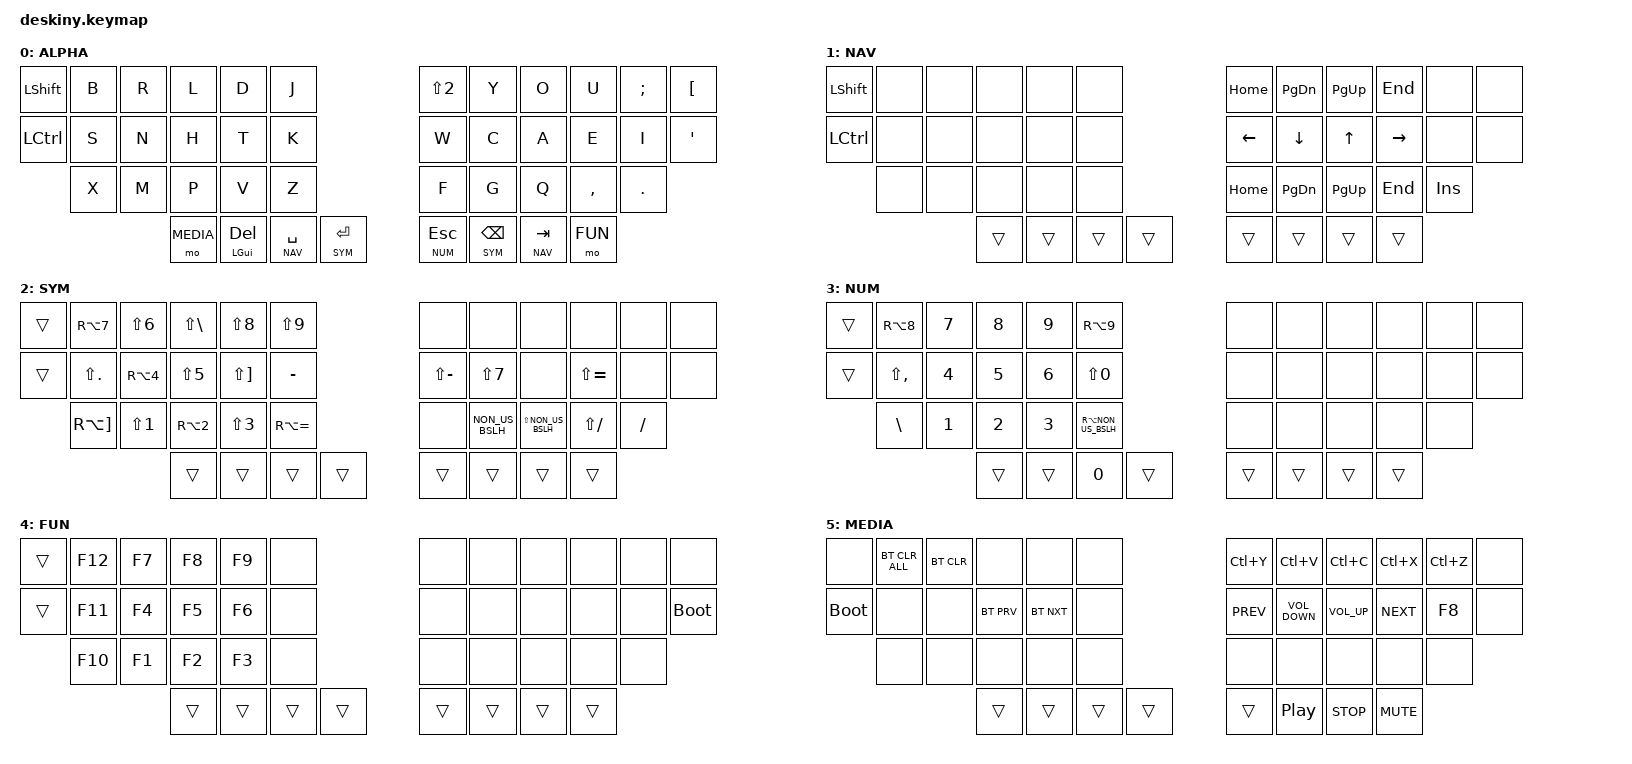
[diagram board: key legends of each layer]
#include <behaviors.dtsi>
#include <dt-bindings/zmk/bt.h>
#include <dt-bindings/zmk/keys.h>

/* DANISH LAYOUT ALIASES FOR LINUX OS */
#define DK_AA   &kp LBKT
#define DK_AE   &kp SEMI
#define DK_OO   &kp APOS
#define DK_MINS &kp SLASH
#define DK_PLUS &kp MINUS
#define DK_EQL  &kp LS(N0)
#define DK_SLSH &kp LS(N7)
#define DK_ASTR &kp LS(BSLH)
#define DK_SQT  &kp BSLH
#define DK_DQOT &kp LS(N2)
#define DK_AMPR &kp LS(N6)
#define DK_PERC &kp LS(N5)
#define DK_C_RT &kp LS(RBKT)
#define DK_SCLN &kp LS(COMMA)
#define DK_COLN &kp LS(DOT)
#define DK_LPAR &kp LS(N8)
#define DK_RPAR &kp LS(N9)
#define DK_EXCL &kp LS(N1)
#define DK_AT   &kp RA(N2)
#define DK_HASH &kp LS(N3)
#define DK_PIPE &kp RA(EQUAL)
#define DK_TILD &kp RA(RBKT)
#define DK_LBRC &kp RA(N7)
#define DK_RBRC &kp RA(N0)
#define DK_LBKT &kp RA(N8)
#define DK_RBKT &kp RA(N9)
#define DK_QST  &kp LS(MINUS)
#define DK_BSLS &kp RA(NON_US_BSLH)
#define DK_GRV  &kp LS(EQUAL)
#define DK_DOLR &kp RA(N4)
#define DK_UNDS &kp LS(SLASH)

#define DK_LABK &kp NON_US_BSLH
#define DK_RABK &kp LS(NON_US_BSLH)
#define ALPHA 0
#define NAV   1
#define SYM   2
#define NUM   3
#define FUN   4
#define MEDIA 5


/ {
    combos { compatible = "zmk,combos"; };

    keymap {
        compatible = "zmk,keymap";

        ALPHA {
            bindings = <
&kp LSHFT         &kp B  &kp R  &kp L  &kp D                &kp J                                     DK_DQOT          &kp Y      &kp O      &kp U      &kp SEMI    &kp LBKT
&kp LEFT_CONTROL  &kp S  &kp N  &kp H  &kp T                &kp K                                     &kp W            &kp C      &kp A      &kp E      &kp I       DK_OO
                  &kp X  &kp M  &kp P  &kp V                &kp Z                                     &kp F            &kp G      &kp Q      &kp COMMA  &kp DOT
                                &mo MEDIA  &mt LEFT_GUI DELETE  &lt NAV SPACE  &lt SYM ENTER  &lt NUM ESC  &lt SYM BACKSPACE  &lt NAV TAB  &mo FUN
            >;
        };

        NAV {
            bindings = <
&kp LSHFT  &none  &none  &none          &none   &none                    &kp HOME        &kp PAGE_DOWN         &kp PG_UP             &kp END                &none  &none
&kp LCTRL  &none  &none  &none          &none   &none                    &kp LEFT        &kp DOWN              &kp UP                &kp RIGHT              &none  &none
           &none  &none  &none          &none   &none                    &kp HOME        &kp PAGE_DOWN         &kp PG_UP             &kp END                &kp INSERT
                         &trans         &trans  &trans  &trans   &trans  &trans          &trans                &trans
            >;
        };

        SYM {
            bindings = <
&trans  DK_LBRC     DK_AMPR     DK_ASTR     DK_LPAR     DK_RPAR                             &none   &none       &none   &none       &none  &none
&trans  DK_COLN     DK_DOLR     DK_PERC     DK_C_RT     DK_PLUS                             DK_QST  DK_SLSH     &none   DK_GRV      &none   &none
        DK_TILD     DK_EXCL     DK_AT       DK_HASH     DK_PIPE                             &none   DK_LABK     DK_RABK  DK_UNDS    DK_MINS
                                &trans      &trans      &trans           &trans    &trans   &trans    &trans    &trans
            >;
        };
        NUM {
            bindings = <
&trans  DK_LBKT  &kp N7  &kp N8  &kp N9  DK_RBKT                  &none  &none  &none  &none  &none  &none
&trans  DK_SCLN  &kp N4  &kp N5  &kp N6  DK_EQL                   &none  &none  &none  &none  &none  &none
        DK_SQT   &kp N1  &kp N2  &kp N3  DK_BSLS                  &none  &none  &none  &none  &none
                         &trans  &trans  &kp N0   &trans  &trans  &trans &trans &trans
            >;
        };
        FUN {
            bindings = <
&trans  &kp F12  &kp F7  &kp F8  &kp F9  &none                  &none  &none  &none  &none  &none  &none
&trans  &kp F11  &kp F4  &kp F5  &kp F6  &none                  &none  &none  &none  &none  &none  &bootloader
        &kp F10  &kp F1  &kp F2  &kp F3  &none                  &none  &none  &none  &none  &none
                         &trans  &trans  &trans   &trans  &trans  &trans &trans &trans
            >;
        };
        MEDIA {
            bindings = <
&none           &bt BT_CLR_ALL  &bt BT_CLR   &none       &none       &none                           &kp LC(Y)          &kp LC(V)           &kp LC(C)           &kp LC(X)   &kp LC(Z)   &none
&bootloader     &none           &none        &bt BT_PRV  &bt BT_NXT  &none                           &kp C_PREV         &kp C_VOLUME_DOWN   &kp C_VOLUME_UP     &kp C_NEXT  &kp F8   &none
                &none           &none        &none       &none       &none                           &none              &none               &none               &none       &none
                                             &trans      &trans      &trans       &trans     &trans  &kp C_PLAY_PAUSE   &kp C_STOP          &kp C_MUTE
            >;
        };
    };
};
